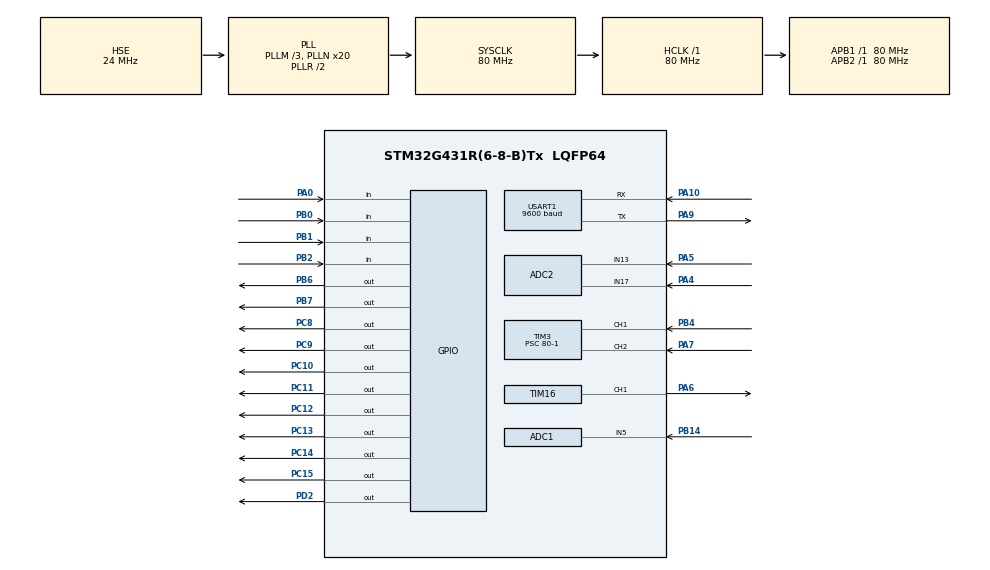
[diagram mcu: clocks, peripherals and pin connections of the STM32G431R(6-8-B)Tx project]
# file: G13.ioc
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ADC1.Channel-0\#ChannelRegularConversion=ADC_CHANNEL_5
ADC1.NbrOfConversionFlag=1
ADC1.OffsetNumber-0\#ChannelRegularConversion=ADC_OFFSET_NONE
ADC1.Rank-0\#ChannelRegularConversion=1
ADC1.SamplingTime-0\#ChannelRegularConversion=ADC_SAMPLETIME_640CYCLES_5
ADC1.master=1
ADC2.Channel-1\#ChannelRegularConversion=ADC_CHANNEL_13
ADC2.Channel-2\#ChannelRegularConversion=ADC_CHANNEL_17
ADC2.DiscontinuousConvMode=ENABLE
ADC2.NbrOfConversion=2
ADC2.NbrOfConversionFlag=1
ADC2.OffsetNumber-1\#ChannelRegularConversion=ADC_OFFSET_NONE
ADC2.OffsetNumber-2\#ChannelRegularConversion=ADC_OFFSET_NONE
ADC2.Rank-1\#ChannelRegularConversion=1
ADC2.Rank-2\#ChannelRegularConversion=2
ADC2.SamplingTime-1\#ChannelRegularConversion=ADC_SAMPLETIME_12CYCLES_5
ADC2.SamplingTime-2\#ChannelRegularConversion=ADC_SAMPLETIME_12CYCLES_5
Dma.Request0=USART1_RX
Dma.Request1=USART1_TX
Dma.USART1_RX.0.Direction=DMA_PERIPH_TO_MEMORY
Dma.USART1_RX.0.EventEnable=DISABLE
Dma.USART1_RX.0.Instance=DMA1_Channel1
Dma.USART1_RX.0.MemDataAlignment=DMA_MDATAALIGN_BYTE
Dma.USART1_RX.0.MemInc=DMA_MINC_ENABLE
Dma.USART1_RX.0.Mode=DMA_NORMAL
Dma.USART1_RX.0.PeriphDataAlignment=DMA_PDATAALIGN_BYTE
Dma.USART1_RX.0.PeriphInc=DMA_PINC_DISABLE
Dma.USART1_RX.0.Polarity=HAL_DMAMUX_REQ_GEN_RISING
Dma.USART1_RX.0.Priority=DMA_PRIORITY_LOW
Dma.USART1_RX.0.RequestNumber=1
Dma.USART1_RX.0.SignalID=NONE
Dma.USART1_RX.0.SyncEnable=DISABLE
Dma.USART1_RX.0.SyncPolarity=HAL_DMAMUX_SYNC_NO_EVENT
Dma.USART1_RX.0.SyncRequestNumber=1
Dma.USART1_RX.0.SyncSignalID=NONE
Dma.USART1_TX.1.Direction=DMA_MEMORY_TO_PERIPH
Dma.USART1_TX.1.EventEnable=DISABLE
Dma.USART1_TX.1.Instance=DMA1_Channel2
Dma.USART1_TX.1.MemDataAlignment=DMA_MDATAALIGN_BYTE
Dma.USART1_TX.1.MemInc=DMA_MINC_ENABLE
Dma.USART1_TX.1.Mode=DMA_NORMAL
Dma.USART1_TX.1.PeriphDataAlignment=DMA_PDATAALIGN_BYTE
Dma.USART1_TX.1.PeriphInc=DMA_PINC_DISABLE
Dma.USART1_TX.1.Polarity=HAL_DMAMUX_REQ_GEN_RISING
Dma.USART1_TX.1.Priority=DMA_PRIORITY_LOW
Dma.USART1_TX.1.RequestNumber=1
Dma.USART1_TX.1.SignalID=NONE
Dma.USART1_TX.1.SyncEnable=DISABLE
Dma.USART1_TX.1.SyncPolarity=HAL_DMAMUX_SYNC_NO_EVENT
Dma.USART1_TX.1.SyncRequestNumber=1
Dma.USART1_TX.1.SyncSignalID=NONE
Mcu.Family=STM32G4
Mcu.Name=STM32G431R(6-8-B)Tx
Mcu.Package=LQFP64
NVIC.DMA1_Channel1_IRQn=true\:0\:0\:false\:false\:true\:false\:true\:true
NVIC.DMA1_Channel2_IRQn=true\:0\:0\:false\:false\:true\:false\:true\:true
NVIC.PriorityGroup=NVIC_PRIORITYGROUP_4
NVIC.TIM2_IRQn=true\:0\:0\:false\:false\:true\:true\:true\:true
NVIC.TIM3_IRQn=true\:0\:0\:false\:false\:true\:true\:true\:true
NVIC.USART1_IRQn=true\:0\:0\:false\:false\:true\:false\:true\:true
PA0.GPIO_PuPd=GPIO_PULLUP
PA0.Signal=GPIO_Input
PA10.Mode=Asynchronous
PA10.Signal=USART1_RX
PA13.Mode=Serial_Wire
PA13.Signal=SYS_JTMS-SWDIO
PA14.Mode=Serial_Wire
PA14.Signal=SYS_JTCK-SWCLK
PA4.Mode=IN17-Single-Ended
PA4.Signal=ADC2_IN17
PA5.Mode=IN13-Single-Ended
PA5.Signal=ADC2_IN13
PA6.Signal=S_TIM16_CH1
PA7.Signal=S_TIM3_CH2
PA9.Mode=Asynchronous
PA9.Signal=USART1_TX
PB0.GPIO_PuPd=GPIO_PULLUP
PB0.Signal=GPIO_Input
PB1.GPIO_PuPd=GPIO_PULLUP
PB1.Signal=GPIO_Input
PB14.Mode=IN5-Single-Ended
PB14.Signal=ADC1_IN5
PB2.GPIO_PuPd=GPIO_PULLUP
PB2.Signal=GPIO_Input
PB4.Signal=S_TIM3_CH1
PB6.Signal=GPIO_Output
PB7.Signal=GPIO_Output
PC10.PinState=GPIO_PIN_SET
PC10.Signal=GPIO_Output
PC11.PinState=GPIO_PIN_SET
PC11.Signal=GPIO_Output
PC12.PinState=GPIO_PIN_SET
PC12.Signal=GPIO_Output
PC13.PinState=GPIO_PIN_SET
PC13.Signal=GPIO_Output
PC14-OSC32_IN.PinState=GPIO_PIN_SET
PC14-OSC32_IN.Signal=GPIO_Output
PC15-OSC32_OUT.PinState=GPIO_PIN_SET
PC15-OSC32_OUT.Signal=GPIO_Output
PC8.PinState=GPIO_PIN_SET
PC8.Signal=GPIO_Output
PC9.PinState=GPIO_PIN_SET
PC9.Signal=GPIO_Output
PD2.PinState=GPIO_PIN_SET
PD2.Signal=GPIO_Output
PF0-OSC_IN.Mode=HSE-External-Oscillator
PF0-OSC_IN.Signal=RCC_OSC_IN
PF1-OSC_OUT.Mode=HSE-External-Oscillator
PF1-OSC_OUT.Signal=RCC_OSC_OUT
ProjectManager.HeapSize=0x200
ProjectManager.StackSize=0x400
ProjectManager.TargetToolchain=MDK-ARM V5.32
RCC.ADC12Freq_Value=80000000
RCC.AHBFreq_Value=80000000
RCC.APB1Freq_Value=80000000
RCC.APB1TimFreq_Value=80000000
RCC.APB2Freq_Value=80000000
RCC.APB2TimFreq_Value=80000000
RCC.CortexFreq_Value=80000000
RCC.EXTERNAL_CLOCK_VALUE=12288000
RCC.HCLKFreq_Value=80000000
RCC.HSE_VALUE=24000000
RCC.HSI48_VALUE=48000000
RCC.HSI_VALUE=16000000
RCC.LSE_VALUE=32768
RCC.PLLM=RCC_PLLM_DIV3
RCC.PLLN=20
RCC.PLLSourceVirtual=RCC_PLLSOURCE_HSE
RCC.SYSCLKFreq_VALUE=80000000
RCC.SYSCLKSource=RCC_SYSCLKSOURCE_PLLCLK
RCC.USBFreq_Value=80000000
RCC.VCOOutputFreq_Value=160000000
SH.S_TIM16_CH1.0=TIM16_CH1,PWM Generation1 CH1
SH.S_TIM3_CH1.0=TIM3_CH1,Input_Capture1_from_TI1
SH.S_TIM3_CH2.0=TIM3_CH2,Input_Capture2_from_TI2
TIM16.Channel=TIM_CHANNEL_1
TIM16.PeriodNoDither=100-1
TIM16.Prescaler=80-1
TIM2.PeriodNoDither=1000-1
TIM2.Prescaler=8000-1
TIM3.Channel-Input_Capture1_from_TI1=TIM_CHANNEL_1
TIM3.Channel-Input_Capture2_from_TI2=TIM_CHANNEL_2
TIM3.Prescaler=80-1
USART1.BaudRate=9600
USART1.VirtualMode-Asynchronous=VM_ASYNC
VP_SYS_VS_DBSignals.Mode=DisableDeadBatterySignals
VP_TIM16_VS_ClockSourceINT.Mode=Enable_Timer
VP_TIM2_VS_ClockSourceINT.Mode=Internal
board=custom

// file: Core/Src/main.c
/* USER CODE BEGIN Header */
/**
  ******************************************************************************
  * @file           : main.c
  * @brief          : Main program body
  ******************************************************************************
  * @attention
  *
  * Copyright (c) 2025 STMicroelectronics.
  * All rights reserved.
  *
  * This software is licensed under terms that can be found in the LICENSE file
  * in the root directory of this software component.
  * If no LICENSE file comes with this software, it is provided AS-IS.
  *
  ******************************************************************************
  */
/* USER CODE END Header */
#include "main.h"
#include "adc.h"
#include "dma.h"
#include "tim.h"
#include "usart.h"
#include "gpio.h"

/* USER CODE BEGIN Includes */
#include "headfile.h"
/* USER CODE END Includes */

void SystemClock_Config(void);

int main(void)
{

  /* MCU Configuration--------------------------------------------------------*/

  /* Reset of all peripherals, Initializes the Flash interface and the Systick. */
  HAL_Init();

  /* Configure the system clock */
  SystemClock_Config();

  /* Initialize all configured peripherals */
  MX_GPIO_Init();
  MX_DMA_Init();
  MX_USART1_UART_Init();
  MX_ADC2_Init();
  MX_ADC1_Init();
  MX_TIM3_Init();
  MX_TIM16_Init();
  MX_TIM2_Init();
  /* USER CODE BEGIN 2 */
  	HAL_GPIO_WritePin(GPIOD, GPIO_PIN_2, GPIO_PIN_RESET);

	LCD_Init();
	LCD_Clear(Black);
	LCD_SetTextColor(White);
	LCD_SetBackColor(Black);

	HAL_ADCEx_Calibration_Start(&hadc1,ADC_SINGLE_ENDED);
	HAL_ADCEx_Calibration_Start(&hadc2,ADC_SINGLE_ENDED);

	HAL_TIM_IC_Start_IT(&htim3,TIM_CHANNEL_1);
	HAL_TIM_IC_Start_IT(&htim3,TIM_CHANNEL_2);

	HAL_TIM_PWM_Start(&htim16,TIM_CHANNEL_1);
	TIM16->CCR1 = 50;

	HAL_UARTEx_ReceiveToIdle_DMA(&huart1,(uint8_t *)rx_buff,100);

	mcp4017_write(13);

	HAL_TIM_Base_Start_IT(&htim2);

  /* USER CODE END 2 */

  /* Infinite loop */
  /* USER CODE BEGIN WHILE */
  while (1)
  {
	  get_many_vol(data);
	  lcd_show();
	  key_scan();
	  rx_handle();

	  	led_show(1,LED1_state);

//	  sprintf(send_buff,"���");
//	  HAL_UART_Transmit_DMA(&huart1,(uint8_t *)send_buff,strlen(send_buff));

    /* USER CODE END WHILE */

  }
}

void SystemClock_Config(void)
{
  RCC_OscInitTypeDef RCC_OscInitStruct = {0};
  RCC_ClkInitTypeDef RCC_ClkInitStruct = {0};

  /** Configure the main internal regulator output voltage
  */
  HAL_PWREx_ControlVoltageScaling(PWR_REGULATOR_VOLTAGE_SCALE1);

  /** Initializes the RCC Oscillators according to the specified parameters
  * in the RCC_OscInitTypeDef structure.
  */
  RCC_OscInitStruct.OscillatorType = RCC_OSCILLATORTYPE_HSE;
  RCC_OscInitStruct.HSEState = RCC_HSE_ON;
  RCC_OscInitStruct.PLL.PLLState = RCC_PLL_ON;
  RCC_OscInitStruct.PLL.PLLSource = RCC_PLLSOURCE_HSE;
  RCC_OscInitStruct.PLL.PLLM = RCC_PLLM_DIV3;
  RCC_OscInitStruct.PLL.PLLN = 20;
  RCC_OscInitStruct.PLL.PLLP = RCC_PLLP_DIV2;
  RCC_OscInitStruct.PLL.PLLQ = RCC_PLLQ_DIV2;
  RCC_OscInitStruct.PLL.PLLR = RCC_PLLR_DIV2;
  if (HAL_RCC_OscConfig(&RCC_OscInitStruct) != HAL_OK)
  {
    Error_Handler();
  }

  /** Initializes the CPU, AHB and APB buses clocks
  */
  RCC_ClkInitStruct.ClockType = RCC_CLOCKTYPE_HCLK|RCC_CLOCKTYPE_SYSCLK
                              |RCC_CLOCKTYPE_PCLK1|RCC_CLOCKTYPE_PCLK2;
  RCC_ClkInitStruct.SYSCLKSource = RCC_SYSCLKSOURCE_PLLCLK;
  RCC_ClkInitStruct.AHBCLKDivider = RCC_SYSCLK_DIV1;
  RCC_ClkInitStruct.APB1CLKDivider = RCC_HCLK_DIV1;
  RCC_ClkInitStruct.APB2CLKDivider = RCC_HCLK_DIV1;

  if (HAL_RCC_ClockConfig(&RCC_ClkInitStruct, FLASH_LATENCY_2) != HAL_OK)
  {
    Error_Handler();
  }
}

void Error_Handler(void)
{
  __disable_irq();
  while (1)
  {
  }
}
